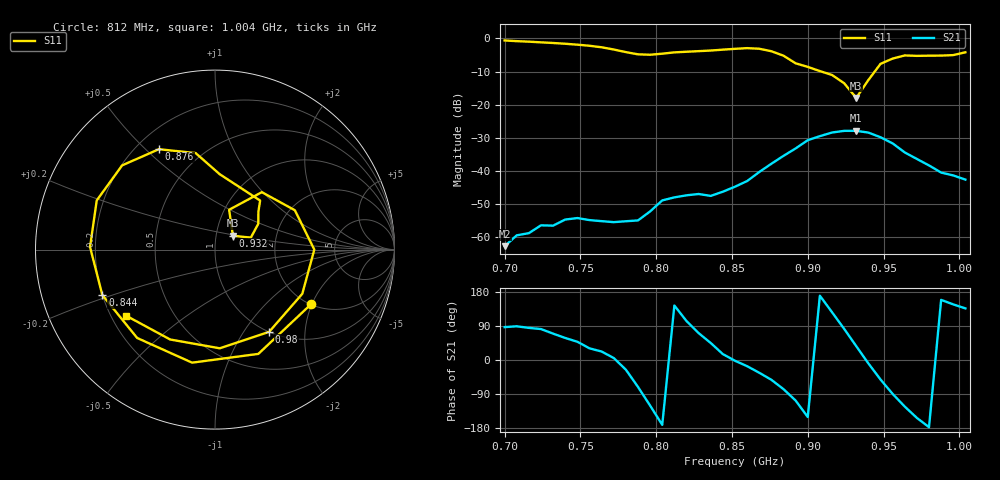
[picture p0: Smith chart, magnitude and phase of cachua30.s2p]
# Hz S RI R 50
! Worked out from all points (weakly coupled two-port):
!   39 points, 700 MHz to 1.004 GHz, reference 50 ohm
!   highest |S21| = -27.92 dB at 932 MHz (marker M1); lowest = -62.8 dB at 700 MHz (marker M2)
!   lowest |S11| = -18.0 dB at 932 MHz (marker M3), VSWR 1.29, Z = 60.3 + j9.47 ohm
!   |S11| at or under -10 dB: 908.9 MHz to 944.2 MHz (35.28 MHz wide, 3.81 % of centre)
!   S12 and S22 are empty: the file has one direction only
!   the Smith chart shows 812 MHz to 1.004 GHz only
!   S11 on the Smith chart (normalised r, x): 812 MHz: 2.01, -1.97; 844 MHz: 0.20, -0.19; 876 MHz: 0.29, +0.55; 932 MHz: 1.21, +0.19; 980 MHz: 1.00, -1.31; 1.004 GHz: 0.26, -0.31
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7e8  0.7674 0.5288  4.05e-05 0.000725  0 0  0 0
7.24e8  0.8321 -0.2621  0.000217 0.00148  0 0  0 0
7.4e8  0.4438 -0.7024  0.000968 0.00156  0 0  0 0
7.56e8  -0.1991 -0.7488  0.00155 0.000922  0 0  0 0
7.72e8  -0.6539 -0.1871  0.00167 0.000153  0 0  0 0
7.8e8  -0.5749 0.2353  0.00156 -0.000745  0 0  0 0
7.88e8  -0.2184 0.532  0.000576 -0.00168  0 0  0 0
7.96e8  0.2629 0.5023  -0.00123 -0.0021  0 0  0 0
8.04e8  0.5708 0.1411  -0.00353 -0.000554  0 0  0 0
8.12e8  0.5352 -0.3041  -0.0032 0.00234  0 0  0 0
8.28e8  -0.1277 -0.6299  0.00145 0.00422  0 0  0 0
8.44e8  -0.6276 -0.2535  0.00466 0.00129  0 0  0 0
8.52e8  -0.6962 0.0147  0.00575 -0.000206  0 0  0 0
8.76e8  -0.3124 0.5594  0.00783 -0.0101  0 0  0 0
9e8  0.2514 0.2733  -0.0252 -0.0143  0 0  0 0
9.08e8  0.2418 0.2114  -0.0328 0.006  0 0  0 0
9.32e8  0.0997 0.0773  0.0323 0.0238  0 0  0 0
9.48e8  0.2611 0.3199  0.02 -0.0251  0 0  0 0
9.56e8  0.445 0.2193  0.000239 -0.0259  0 0  0 0
9.64e8  0.5534 -0.000108  -0.0103 -0.0159  0 0  0 0
9.8e8  0.3015 -0.4583  -0.012 -0.000591  0 0  0 0
1.004e9  -0.4958 -0.368  -0.00531 0.0051  0 0  0 0
